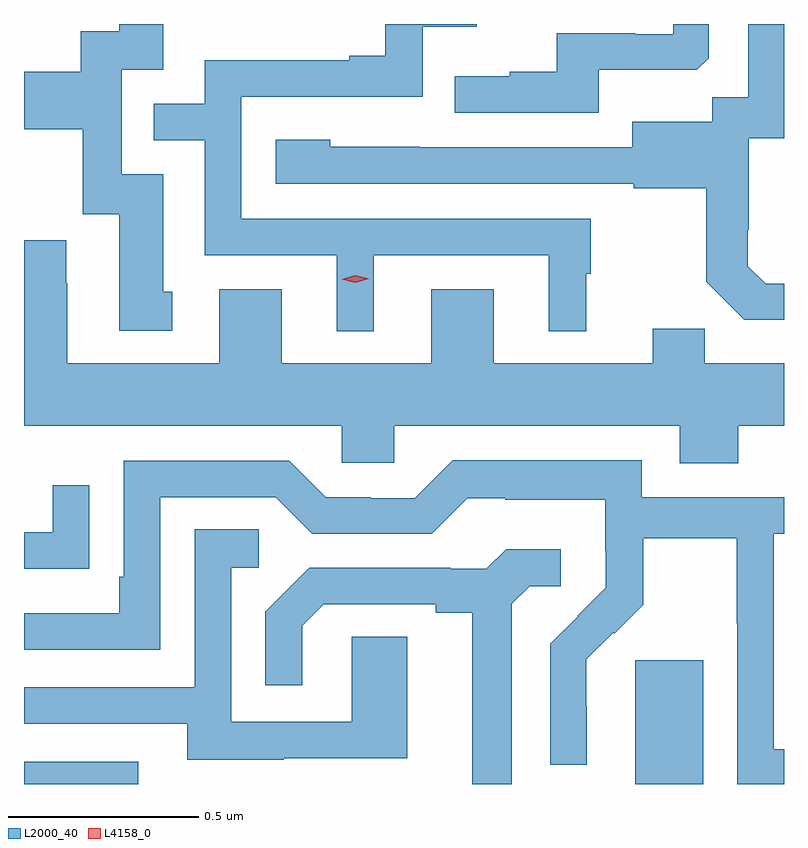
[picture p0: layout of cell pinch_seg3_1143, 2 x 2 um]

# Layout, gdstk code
import gdstk
lib = gdstk.Library(unit=1e-6, precision=1e-09)
def R(c, l, rs):  # rectangles x0, y0, x1, y1
    for r in rs: c.add(gdstk.rectangle(r[:2], r[2:], *l))
def P(c, l, *ps):  # polygons
    for p in ps: c.add(gdstk.Polygon(p, *l))
L2000_40 = (2000, 40)
L4158_0 = (4158, 0)

pinch_seg3_1143 = lib.new_cell('pinch_seg3_1143')
R(pinch_seg3_1143, L2000_40, [(150.637,739.933,150.937,739.992), (152.246,739.933,152.425,740.259)])
P(pinch_seg3_1143, L2000_40, [(151.558,741.324),(152.018,741.324),(152.018,741.125),(152.116,741.125),(152.116,741.276),(152.128,741.276),(152.128,741.42),(151.209,741.42),(151.209,741.741),(151.686,741.741),(151.686,741.926),(151.828,741.926),(151.828,741.933),(151.588,741.933),(151.588,741.85),(151.493,741.85),(151.493,741.837),(151.113,741.837),(151.113,741.723),(150.979,741.723),(150.979,741.627),(151.113,741.627),(151.113,741.324),(151.46,741.324),(151.46,741.125),(151.558,741.125)],
  [(152.637,741.249),(152.589,741.249),(152.542,741.296),(152.542,741.391),(152.544,741.391),(152.544,741.632),(152.637,741.632),(152.637,741.933),(152.543,741.933),(152.543,741.74),(152.448,741.74),(152.448,741.676),(152.237,741.676),(152.237,741.609),(151.679,741.609),(151.679,741.61),(151.443,741.61),(151.443,741.628),(151.299,741.628),(151.299,741.513),(152.241,741.513),(152.241,741.501),(152.433,741.501),(152.433,741.255),(152.533,741.155),(152.637,741.155)],
  [(151.027,741.228),(151.003,741.228),(151.003,741.537),(150.894,741.537),(150.894,741.813),(151.003,741.813),(151.003,741.933),(150.887,741.933),(150.887,741.914),(150.786,741.914),(150.786,741.808),(150.637,741.808),(150.637,741.656),(150.791,741.656),(150.791,741.432),(150.887,741.432),(150.887,741.126),(151.027,741.126)],
  [(152.149,741.812),(152.407,741.812),(152.439,741.843),(152.439,741.933),(152.346,741.933),(152.346,741.906),(152.246,741.906),(152.246,741.909),(152.039,741.909),(152.039,741.808),(151.915,741.808),(151.915,741.796),(151.771,741.796),(151.771,741.699),(152.149,741.699)],
  [(152.516,740.876),(152.637,740.876),(152.637,741.04),(152.429,741.04),(152.429,741.131),(152.291,741.131),(152.291,741.04),(151.873,741.04),(151.873,741.235),(151.709,741.235),(151.709,741.04),(151.315,741.04),(151.315,741.235),(151.151,741.235),(151.151,741.04),(150.751,741.04),(150.751,741.251),(150.748,741.251),(150.748,741.364),(150.637,741.364),(150.637,740.876),(151.473,740.876),(151.473,740.778),(151.611,740.778),(151.611,740.876),(152.363,740.876),(152.363,740.777),(152.516,740.777)],
  [(152.637,740.025),(152.61,740.025),(152.61,740.592),(152.637,740.592),(152.637,740.688),(152.262,740.688),(152.262,740.785),(151.765,740.785),(151.665,740.685),(151.55,740.685),(151.55,740.688),(151.431,740.688),(151.335,740.784),(150.9,740.784),(150.9,740.479),(150.887,740.479),(150.887,740.382),(150.637,740.382),(150.637,740.286),(150.996,740.286),(150.996,740.688),(151.299,740.688),(151.395,740.592),(151.71,740.592),(151.803,740.685),(151.903,740.685),(151.903,740.681),(152.166,740.681),(152.166,740.547),(152.168,740.547),(152.168,740.45),(152.094,740.376),(152.095,740.375),(152.022,740.302),(152.022,739.984),(152.118,739.984),(152.118,740.138),(152.117,740.138),(152.117,740.261),(152.187,740.331),(152.19,740.328),(152.267,740.405),(152.267,740.58),(152.512,740.58),(152.512,740.356),(152.514,740.356),(152.514,739.933),(152.637,739.933)],
  [(150.707,740.5),(150.809,740.5),(150.809,740.719),(150.713,740.719),(150.713,740.595),(150.637,740.595),(150.637,740.499),(150.707,740.499)],
  [(151.321,740.001),(151.645,740.001),(151.645,740.321),(151.5,740.321),(151.5,740.097),(151.182,740.097),(151.182,740.502),(151.255,740.502),(151.255,740.603),(151.086,740.603),(151.086,740.187),(150.637,740.187),(150.637,740.091),(151.067,740.091),(151.067,739.997),(151.321,739.997)],
  [(151.921,740.407),(151.968,740.454),(152.05,740.454),(152.05,740.551),(151.906,740.551),(151.854,740.499),(151.76,740.499),(151.76,740.502),(151.388,740.502),(151.272,740.386),(151.272,740.193),(151.369,740.193),(151.369,740.349),(151.426,740.406),(151.721,740.406),(151.721,740.384),(151.817,740.384),(151.817,739.933),(151.921,739.933)])
P(pinch_seg3_1143, L4158_0, [(151.509,741.252),(151.473,741.261),(151.473,741.261),(151.473,741.261),(151.509,741.272),(151.545,741.262),(151.545,741.262),(151.545,741.262)])

lib.write_gds('pinch_seg3_1143.gds')
